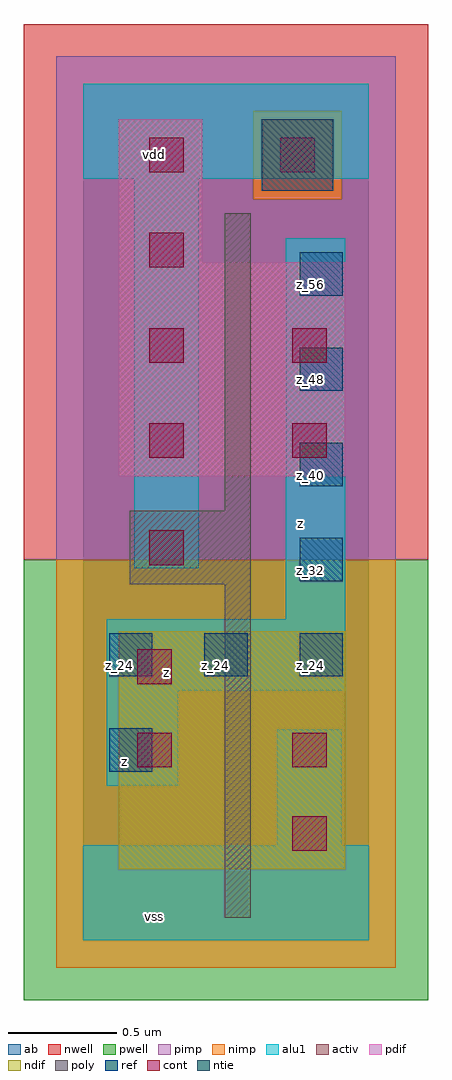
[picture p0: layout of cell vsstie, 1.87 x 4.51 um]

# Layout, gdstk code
import gdstk
lib = gdstk.Library(unit=1e-6, precision=2.5e-09)
def R(c, l, rs):  # rectangles x0, y0, x1, y1
    for r in rs: c.add(gdstk.rectangle(r[:2], r[2:], *l))
def A(c, l, x, y, w, h, nx, ny, dx, dy):  # array of equal rectangles
    R(c, l, [(x+i*dx, y+j*dy, x+i*dx+w, y+j*dy+h) for i in range(nx) for j in range(ny)])
ndif = (3, 0)
pdif = (4, 0)
ntie = (5, 0)
ref = (24, 0)
cont = (25, 0)
pwell = (41, 0)
nwell = (42, 0)
activ = (43, 0)
pimp = (44, 0)
nimp = (45, 0)
poly = (46, 0)
alu1 = (49, 0)
ab = (63, 0)

vsstie = lib.new_cell('vsstie')
R(vsstie, ndif, [(0.165,0.33,1.21,1.43)])
R(vsstie, pdif, [(0.165,2.145,1.21,3.135), (0.165,3.135,0.55,3.795)])
R(vsstie, ntie, [(0.825,3.465,1.155,3.795)])
A(vsstie, ref, 0.12, 1.22, 0.2, 0.2, 3, 1, 0.44, 0)
A(vsstie, ref, 1, 1.66, 0.2, 0.2, 1, 4, 0, 0.44)
R(vsstie, ref, [(0.12,0.78,0.32,0.98)])
A(vsstie, cont, 0.305, 2.23, 0.16, 0.16, 1, 4, 0, 0.44)
R(vsstie, cont, [(0.965,0.415,1.125,0.575), (0.25,0.8,0.41,0.96), (0.965,0.8,1.125,0.96), (0.25,1.185,0.41,1.345), (0.305,1.735,0.465,1.895), (0.965,2.23,1.125,2.39), (0.965,2.67,1.125,2.83), (0.91,3.55,1.07,3.71)])
R(vsstie, pwell, [(-0.275,-0.275,1.595,1.76)])
R(vsstie, nwell, [(-0.275,1.76,1.595,4.235)])
R(vsstie, activ, [(0.165,0.33,1.21,1.43), (0.165,2.145,1.21,3.135), (0.165,3.135,0.55,3.795), (0.825,3.465,1.155,3.795)])
R(vsstie, pimp, [(-0.125,1.76,1.445,3.425), (-0.125,3.425,0.785,3.835), (1.195,3.425,1.445,3.835), (-0.125,3.835,1.445,4.085)])
R(vsstie, nimp, [(-0.125,-0.125,1.445,1.76), (0.785,3.425,1.195,3.835)])
R(vsstie, poly, [(0.655,0.105,0.775,1.645), (0.215,1.645,0.775,1.985), (0.655,1.985,0.775,3.36)])
R(vsstie, alu1, [(0,0,1.32,0.44), (0.895,0.44,1.195,0.975), (0.11,0.715,0.44,1.155), (0.11,1.155,1.21,1.485), (0.935,1.485,1.21,3.245), (0.235,1.72,0.535,3.52), (0,3.52,1.32,3.96)])
R(vsstie, ab, [(0,0,1.32,3.96)])
vsstie.add(gdstk.Label('vss', (0.33,0.11), layer=49, texttype=0))
vsstie.add(gdstk.Label('z', (0.1925,0.825), layer=49, texttype=0))
vsstie.add(gdstk.Label('z', (0.385,1.2375), layer=49, texttype=0))
vsstie.add(gdstk.Label('z', (1.0025,1.925), layer=49, texttype=0))
vsstie.add(gdstk.Label('vdd', (0.33,3.63), layer=49, texttype=0))
vsstie.add(gdstk.Label('z_24', (0.17,1.27), layer=24, texttype=0))
vsstie.add(gdstk.Label('z_16', (0.17,0.83), layer=24, texttype=0))
vsstie.add(gdstk.Label('z_56', (1.05,3.03), layer=24, texttype=0))
vsstie.add(gdstk.Label('z_48', (1.05,2.59), layer=24, texttype=0))
vsstie.add(gdstk.Label('z_40', (1.05,2.15), layer=24, texttype=0))
vsstie.add(gdstk.Label('z_32', (1.05,1.71), layer=24, texttype=0))
vsstie.add(gdstk.Label('z_24', (1.05,1.27), layer=24, texttype=0))
vsstie.add(gdstk.Label('z_24', (0.61,1.27), layer=24, texttype=0))

lib.write_gds('vsstie.gds')
